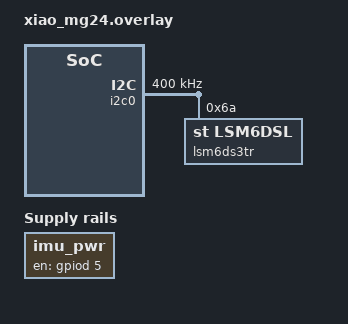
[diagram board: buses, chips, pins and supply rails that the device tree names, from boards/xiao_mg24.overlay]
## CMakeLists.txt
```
cmake_minimum_required(VERSION 3.20.0)
find_package(Zephyr REQUIRED HINTS $ENV{ZEPHYR_BASE})

project(imu_01)

target_sources(app PRIVATE src/main.c)
```

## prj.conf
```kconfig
CONFIG_STDOUT_CONSOLE=y
CONFIG_PRINTK=y

CONFIG_REGULATOR=y
CONFIG_REGULATOR_FIXED=y
CONFIG_REGULATOR_FIXED_INIT_PRIORITY=45

CONFIG_I2C=y
CONFIG_SENSOR=y
CONFIG_LSM6DSL=y

CONFIG_CBPRINTF_FP_SUPPORT=y
```

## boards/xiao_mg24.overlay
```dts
/ {
    
    imu_pwr: imu-pwr {
		compatible = "regulator-fixed";
		regulator-name = "imu-pwr";
		enable-gpios = <&gpiod 5 GPIO_ACTIVE_HIGH>;
		regulator-boot-on;
        regulator-always-on;
		startup-delay-us = <5000>;
	};

    aliases {
        imu0 = &lsm6ds3tr;
    };
};

&i2c0 {
    status = "okay";
    pinctrl-0 = <&i2c0_default>;
    pinctrl-names = "default";
    clock-frequency = <I2C_BITRATE_FAST>; /* 400 kHz */

    lsm6ds3tr: lsm6dsl@6a {
        compatible = "st,lsm6dsl";
        reg = <0x6a>;
        status = "okay";

        /* Optional: if you wired interrupt pin */
        /* int1-gpios = <&gpioX Y GPIO_ACTIVE_HIGH>; */
    };
};

&pinctrl {
	i2c0_default: i2c0_default {
		group0 {
			pins = <I2C0_SDA_PB2>, <I2C0_SCL_PB3>;
			drive-open-drain;
			bias-pull-up;
		};
	};

	i2c1_default: i2c1_default {
		group0 {
			pins = <I2C1_SDA_PC5>, <I2C1_SCL_PC4>;
			drive-open-drain;
			bias-pull-up;
		};
	};
};
```

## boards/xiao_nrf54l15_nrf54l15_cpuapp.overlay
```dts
/ {

    aliases {
        imu0 = &lsm6ds3tr;
    };
};

&i2c30 {
    status = "okay";
	lsm6ds3tr: lsm6dsl@6a {
        compatible = "st,lsm6dsl";
		reg = <0x6a>;
		irq-gpios = <&gpio0 2 GPIO_ACTIVE_HIGH>;
		status = "okay";
	};
};
```

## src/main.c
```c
#include <zephyr/kernel.h>
#include <zephyr/device.h>
#include <zephyr/drivers/i2c.h>
#include <zephyr/drivers/sensor.h>
#include <zephyr/sys/printk.h>

#define IMU_NODE DT_ALIAS(imu0)
#define I2C_BUS  DT_BUS(IMU_NODE)

#define LSM6DSL_REG_WHOAMI  0x0F
#define LSM6DSL_WHOAMI_VAL  0x6A

static void print_sv(const char *name, const struct sensor_value *v)
{
    int32_t v1 = v->val1;
    int32_t v2 = v->val2;

    /* Normalize so fraction is always positive when we print */
    if (v1 < 0 || v2 < 0) {
        /* Convert to total micro-units first */
        int64_t total = (int64_t)v1 * 1000000LL + (int64_t)v2;
        if (total < 0) {
            total = -total;
            printk("%s=-%lld.%06lld ", name,
                   total / 1000000LL, total % 1000000LL);
            return;
        }
    }

    printk("%s=%d.%06d ", name, v1, v2);
}

static int whoami_check(const struct device *i2c, uint8_t addr)
{
    uint8_t reg = LSM6DSL_REG_WHOAMI;
    uint8_t val = 0;

    int ret = i2c_write_read(i2c, addr, &reg, 1, &val, 1);
    if (ret) {
        printk("WHO_AM_I read failed: %d\n", ret);
        return ret;
    }

    printk("WHO_AM_I = 0x%02x (expected 0x%02x)\n", val, LSM6DSL_WHOAMI_VAL);
    return (val == LSM6DSL_WHOAMI_VAL) ? 0 : -1;
}

static int configure_imu(const struct device *imu)
{
    int ret;
    struct sensor_value odr;
    struct sensor_value fs;

    /* Set ODR (Hz) */
    odr.val1 = 104; odr.val2 = 0; /* 104 Hz */
    ret = sensor_attr_set(imu, SENSOR_CHAN_ACCEL_XYZ, SENSOR_ATTR_SAMPLING_FREQUENCY, &odr);
    if (ret) {
        printk("accel ODR set failed: %d\n", ret);
        return ret;
    }

    ret = sensor_attr_set(imu, SENSOR_CHAN_GYRO_XYZ, SENSOR_ATTR_SAMPLING_FREQUENCY, &odr);
    if (ret) {
        printk("gyro ODR set failed: %d\n", ret);
        return ret;
    }

    /* Set full scale */
    fs.val1 = 16; fs.val2 = 0; /* accel +/-16g (driver uses g units) */
    ret = sensor_attr_set(imu, SENSOR_CHAN_ACCEL_XYZ, SENSOR_ATTR_FULL_SCALE, &fs);
    if (ret) {
        printk("accel FS set failed: %d\n", ret);
        /* not fatal on some builds, continue */
    }

    fs.val1 = 2000; fs.val2 = 0; /* gyro +/-2000 dps */
    ret = sensor_attr_set(imu, SENSOR_CHAN_GYRO_XYZ, SENSOR_ATTR_FULL_SCALE, &fs);
    if (ret) {
        printk("gyro FS set failed: %d\n", ret);
        /* not fatal on some builds, continue */
    }

    return 0;
}

int main(void)
{
    const struct device *imu = DEVICE_DT_GET(IMU_NODE);
    const struct device *i2c = DEVICE_DT_GET(I2C_BUS);
    const uint8_t imu_addr = DT_REG_ADDR(IMU_NODE);

    printk("\n--- LSM6DSL demo ---\n");

    k_sleep(K_MSEC(50));

    if (!device_is_ready(i2c)) {
        printk("I2C bus not ready: %s\n", i2c->name);
        return 0;
    }

    /* Prove sensor responds */
    if (whoami_check(i2c, imu_addr) != 0) {
        printk("IMU responds on I2C but WHO_AM_I mismatch -> check part/address\n");
        return 0;
    }

    if (!device_is_ready(imu)) {
        printk("IMU device not ready (driver didn't bind)\n");
        return 0;
    }

    printk("IMU bound: %s\n", imu->name);

    /* Force config so it is not in power-down */
    configure_imu(imu);

    /* Give it time to produce first samples */
    k_sleep(K_MSEC(50));

    while (1) {
        struct sensor_value ax, ay, az;
        struct sensor_value gx, gy, gz;

        int ret = sensor_sample_fetch(imu);
        if (ret) {
            printk("sensor_sample_fetch failed: %d\n", ret);
            k_sleep(K_MSEC(200));
            continue;
        }

        ret  = sensor_channel_get(imu, SENSOR_CHAN_ACCEL_X, &ax);
        ret |= sensor_channel_get(imu, SENSOR_CHAN_ACCEL_Y, &ay);
        ret |= sensor_channel_get(imu, SENSOR_CHAN_ACCEL_Z, &az);
        ret |= sensor_channel_get(imu, SENSOR_CHAN_GYRO_X,  &gx);
        ret |= sensor_channel_get(imu, SENSOR_CHAN_GYRO_Y,  &gy);
        ret |= sensor_channel_get(imu, SENSOR_CHAN_GYRO_Z,  &gz);

        if (ret) {
            printk("sensor_channel_get failed: %d\n", ret);
            k_sleep(K_MSEC(200));
            continue;
        }

        printk("ACC: ");
        print_sv("ax", &ax);
        print_sv("ay", &ay);
        print_sv("az", &az);

        printk("| GYR: ");
        print_sv("gx", &gx);
        print_sv("gy", &gy);
        print_sv("gz", &gz);

        printk("\n");
        k_sleep(K_MSEC(1000));
    }
}
```
